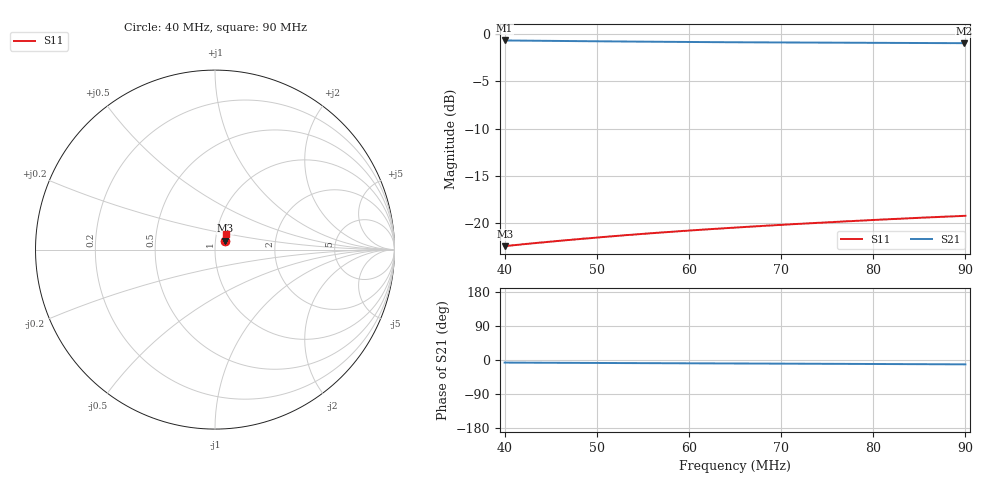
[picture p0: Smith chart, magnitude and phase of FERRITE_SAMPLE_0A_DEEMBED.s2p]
! COPPER MOUNTAIN TECHNOLOGIES, PLANAR TR1300/1, 00000000, 23.1.2/1.0
! Date: 7/3/2023 3:28:58 PM
! Data: Format [Calibration Info]
! Freq  S11: Mag/Ang  S21: Mag/Ang  S12: Mag/Ang  S22: Mag/Ang
# HZ S MA R 50
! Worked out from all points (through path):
!   1600 points, 40 MHz to 90 MHz, reference 50 ohm
!   highest |S21| = -0.67 dB at 40 MHz (marker M1); lowest = -1.0 dB at 89.84 MHz (marker M2)
!   group delay of S21, straight-line fit = 256 ps
!   lowest |S11| = -22.4 dB at 40.03 MHz (marker M3), VSWR 1.16, Z = 55.7 + j5.62 ohm
!   |S11| at or under -10 dB: start of sweep to end of sweep
!   S12 and S22 are empty: the file has one direction only
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4e7  0.07558 41.6  0.9254 -6.8  0 0.0  0 0.0
4.003127e7  0.07557 41.6  0.9254 -6.8  0 0.0  0 0.0
4.025016e7  0.0758 41.6  0.9252 -6.8  0 0.0  0 0.0
4.225141e7  0.07763 41.9  0.923 -7.0  0 0.0  0 0.0
4.315822e7  0.07836 41.9  0.9223 -7.1  0 0.0  0 0.0
4.581614e7  0.08054 42.2  0.9198 -7.4  0 0.0  0 0.0
4.834897e7  0.08267 42.5  0.9175 -7.7  0 0.0  0 0.0
4.931832e7  0.08333 42.6  0.9168 -7.7  0 0.0  0 0.0
5.04753e7  0.08434 42.7  0.916 -7.8  0 0.0  0 0.0
5.291432e7  0.08614 43.0  0.9138 -8.1  0 0.0  0 0.0
5.666667e7  0.08899 43.7  0.9108 -8.4  0 0.0  0 0.0
6.141964e7  0.09239 44.7  0.9075 -8.9  0 0.0  0 0.0
6.501563e7  0.09475 45.7  0.9054 -9.2  0 0.0  0 0.0
6.848655e7  0.09701 46.7  0.9037 -9.5  0 0.0  0 0.0
6.904941e7  0.0974 46.8  0.9033 -9.5  0 0.0  0 0.0
7.170732e7  0.09905 47.6  0.9021 -9.8  0 0.0  0 0.0
7.33646e7  0.09999 48.2  0.9015 -9.9  0 0.0  0 0.0
7.686679e7  0.1021 49.3  0.9002 -10.2  0 0.0  0 0.0
8.16823e7  0.1049 51.0  0.8983 -10.7  0 0.0  0 0.0
8.56848e7  0.1071 52.5  0.8967 -11.1  0 0.0  0 0.0
8.984365e7  0.1093 54.2  0.8952 -11.5  0 0.0  0 0.0
9e7  0.1094 54.3  0.8953 -11.5  0 0.0  0 0.0
